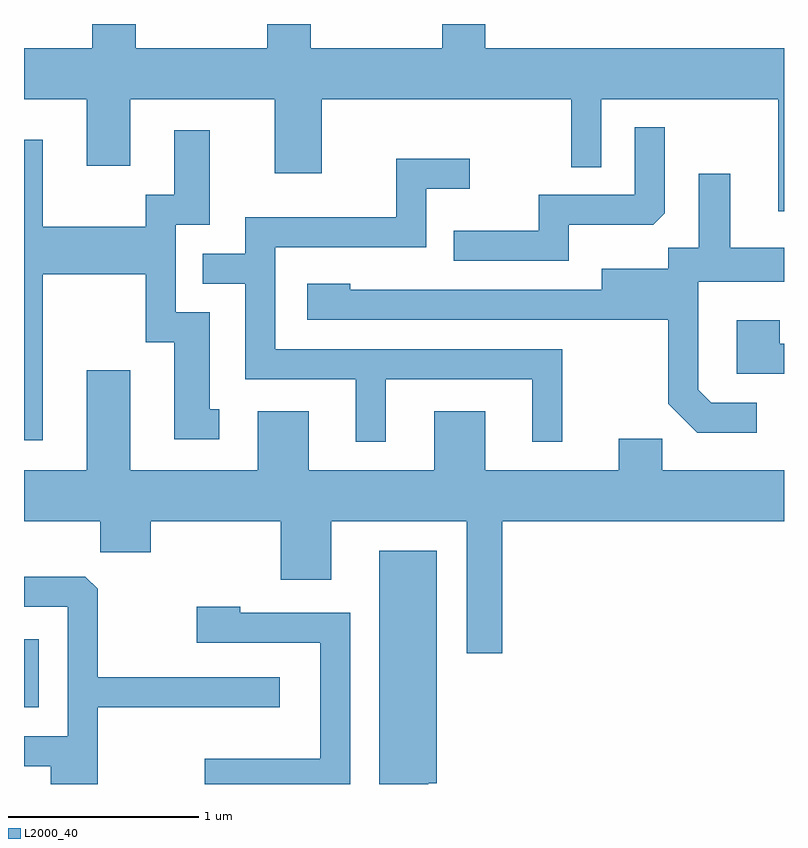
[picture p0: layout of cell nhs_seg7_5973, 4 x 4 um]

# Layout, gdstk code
import gdstk
lib = gdstk.Library(unit=1e-6, precision=1e-09)
def R(c, l, rs):  # rectangles x0, y0, x1, y1
    for r in rs: c.add(gdstk.rectangle(r[:2], r[2:], *l))
def P(c, l, *ps):  # polygons
    for p in ps: c.add(gdstk.Polygon(p, *l))
L2000_40 = (2000, 40)

nhs_seg7_5973 = lib.new_cell('nhs_seg7_5973')
R(nhs_seg7_5973, L2000_40, [(367.611,1726.656,367.689,1727.014)])
P(nhs_seg7_5973, L2000_40, [(371.611,1730.124),(370.039,1730.124),(370.039,1730.252),(369.811,1730.252),(369.811,1730.124),(369.119,1730.124),(369.119,1730.252),(368.891,1730.252),(368.891,1730.124),(368.199,1730.124),(368.199,1730.252),(367.971,1730.252),(367.971,1730.124),(367.611,1730.124),(367.611,1729.856),(367.941,1729.856),(367.941,1729.506),(368.169,1729.506),(368.169,1729.856),(368.931,1729.856),(368.931,1729.466),(369.179,1729.466),(369.179,1729.856),(370.491,1729.856),(370.491,1729.498),(370.649,1729.498),(370.649,1729.856),(371.581,1729.856),(371.581,1729.266),(371.611,1729.266)],
  [(370.479,1729.196),(370.924,1729.196),(370.984,1729.257),(370.984,1729.708),(370.826,1729.708),(370.826,1729.354),(370.321,1729.354),(370.321,1729.164),(369.873,1729.164),(369.873,1729.006),(370.479,1729.006)],
  [(367.709,1728.936),(368.251,1728.936),(368.251,1728.576),(368.401,1728.576),(368.401,1728.066),(368.638,1728.066),(368.638,1728.224),(368.589,1728.224),(368.589,1728.734),(368.409,1728.734),(368.409,1729.196),(368.589,1729.196),(368.589,1729.694),(368.401,1729.694),(368.401,1729.354),(368.251,1729.354),(368.251,1729.184),(367.709,1729.184),(367.709,1729.644),(367.611,1729.644),(367.611,1728.061),(367.709,1728.061)],
  [(369.514,1728.381),(370.286,1728.381),(370.286,1728.053),(370.444,1728.053),(370.444,1728.539),(368.934,1728.539),(368.934,1729.076),(369.729,1729.076),(369.729,1729.386),(369.958,1729.386),(369.958,1729.544),(369.571,1729.544),(369.571,1729.234),(368.776,1729.234),(368.776,1729.044),(368.553,1729.044),(368.553,1728.886),(368.776,1728.886),(368.776,1728.381),(369.356,1728.381),(369.356,1728.053),(369.514,1728.053)],
  [(371.468,1728.259),(371.227,1728.259),(371.159,1728.327),(371.159,1728.896),(371.611,1728.896),(371.611,1729.074),(371.329,1729.074),(371.329,1729.463),(371.161,1729.463),(371.161,1729.074),(371.001,1729.074),(371.001,1728.964),(370.651,1728.964),(370.651,1728.854),(369.329,1728.854),(369.329,1728.884),(369.101,1728.884),(369.101,1728.696),(371.001,1728.696),(371.001,1728.254),(371.154,1728.101),(371.468,1728.101)],
  [(371.611,1728.569),(371.589,1728.569),(371.589,1728.694),(371.361,1728.694),(371.361,1728.411),(371.611,1728.411)],
  [(370.129,1727.636),(371.611,1727.636),(371.611,1727.904),(370.969,1727.904),(370.969,1728.069),(370.741,1728.069),(370.741,1727.904),(370.039,1727.904),(370.039,1728.214),(369.771,1728.214),(369.771,1727.904),(369.109,1727.904),(369.109,1728.214),(368.841,1728.214),(368.841,1727.904),(368.169,1727.904),(368.169,1728.429),(367.941,1728.429),(367.941,1727.904),(367.611,1727.904),(367.611,1727.636),(368.011,1727.636),(368.011,1727.471),(368.279,1727.471),(368.279,1727.636),(368.961,1727.636),(368.961,1727.326),(369.229,1727.326),(369.229,1727.636),(369.941,1727.636),(369.941,1726.941),(370.129,1726.941)],
  [(369.739,1726.256),(369.784,1726.256),(369.784,1727.479),(369.481,1727.479),(369.481,1726.252),(369.739,1726.252)],
  [(367.999,1726.656),(368.958,1726.656),(368.958,1726.814),(367.999,1726.814),(367.999,1727.279),(367.934,1727.344),(367.611,1727.344),(367.611,1727.186),(367.841,1727.186),(367.841,1726.504),(367.611,1726.504),(367.611,1726.346),(367.751,1726.346),(367.751,1726.252),(367.999,1726.252)],
  [(369.329,1727.154),(368.749,1727.154),(368.749,1727.184),(368.521,1727.184),(368.521,1726.996),(369.171,1726.996),(369.171,1726.384),(368.561,1726.384),(368.561,1726.252),(369.329,1726.252)])

lib.write_gds('nhs_seg7_5973.gds')
